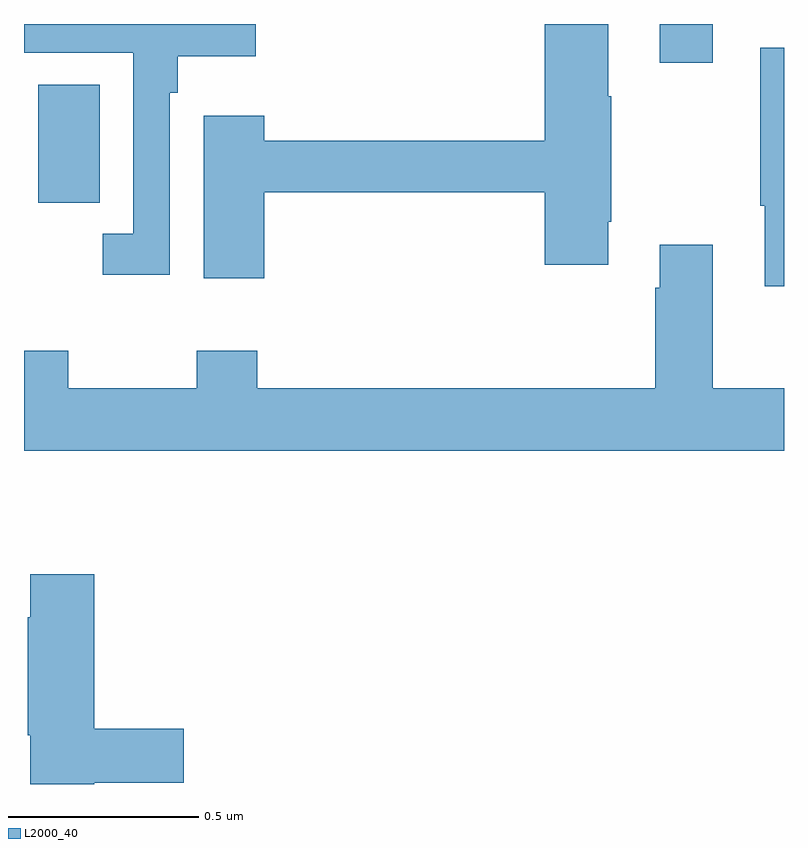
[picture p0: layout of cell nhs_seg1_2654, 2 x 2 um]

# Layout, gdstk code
import gdstk
lib = gdstk.Library(unit=1e-6, precision=1e-09)
def R(c, l, rs):  # rectangles x0, y0, x1, y1
    for r in rs: c.add(gdstk.rectangle(r[:2], r[2:], *l))
def P(c, l, *ps):  # polygons
    for p in ps: c.add(gdstk.Polygon(p, *l))
L2000_40 = (2000, 40)

nhs_seg1_2654 = lib.new_cell('nhs_seg1_2654')
R(nhs_seg1_2654, L2000_40, [(144.038,541.728,144.199,542.039), (145.673,542.097,145.813,542.199)])
P(nhs_seg1_2654, L2000_40, [(144.632,541.756),(145.37,541.756),(145.37,541.566),(145.537,541.566),(145.537,541.678),(145.545,541.678),(145.545,542.009),(145.537,542.009),(145.537,542.199),(145.37,542.199),(145.37,541.892),(144.632,541.892),(144.632,541.957),(144.473,541.957),(144.473,541.53),(144.632,541.53)],
  [(144.384,542.018),(144.404,542.018),(144.404,542.114),(144.61,542.114),(144.61,542.199),(144,542.199),(144,542.124),(144.288,542.124),(144.288,541.647),(144.207,541.647),(144.207,541.539),(144.384,541.539)],
  [(146,542.137),(145.938,542.137),(145.938,541.721),(145.949,541.721),(145.949,541.509),(146,541.509)],
  [(146,541.24),(145.813,541.24),(145.813,541.618),(145.673,541.618),(145.673,541.505),(145.661,541.505),(145.661,541.24),(144.614,541.24),(144.614,541.339),(144.454,541.339),(144.454,541.24),(144.117,541.24),(144.117,541.339),(144,541.339),(144,541.076),(146,541.076)],
  [(144.185,540.202),(144.421,540.202),(144.421,540.344),(144.185,540.344),(144.185,540.751),(144.017,540.751),(144.017,540.638),(144.01,540.638),(144.01,540.327),(144.017,540.327),(144.017,540.199),(144.185,540.199)])

lib.write_gds('nhs_seg1_2654.gds')
